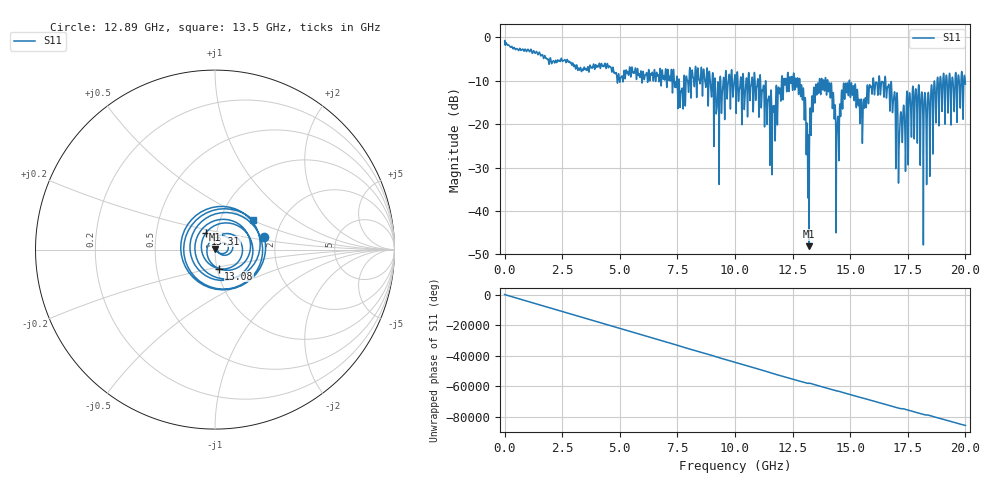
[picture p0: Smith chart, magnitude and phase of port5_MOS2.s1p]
! MS46122B
! 2250307/22442219
! 6/15/2025 11:04:52 AM
! C:\USERS\SPARKY\DOCUMENTS\VNA_DATA\JUNE15_2025\295K\PORT5_MOS2.S1P
! CHANNEL.1
! TR.MEASUREMENT
! RAW.DATA
# GHZ S RI R 50.0
! FREQ.GHZ  S11RE  S11IM
!; PortSelection: Port_1
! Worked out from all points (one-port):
!   10001 points, 1 MHz to 20 GHz, reference 50 ohm
!   lowest |S11| = -48.1 dB at 13.22 GHz (marker M1), VSWR 1.01, Z = 50.1 + j0.378 ohm
!   |S11| at or under -10 dB: 14.03 GHz to 14.96 GHz (933.2 MHz wide, 6.44 % of centre); 14.97 GHz to 15.98 GHz (1.012 GHz wide, 6.54 % of centre); 16.54 GHz to 18.77 GHz (2.235 GHz wide, 12.7 % of centre) (the widest 3 of 73)
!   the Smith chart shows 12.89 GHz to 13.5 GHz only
!   S11 on the Smith chart (normalised r, x): 12.89 GHz: 1.73, +0.26; 13.08 GHz: 1.02, -0.22; 13.31 GHz: 0.89, +0.16; 13.5 GHz: 1.44, +0.51
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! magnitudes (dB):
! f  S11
! 1 MHz  -1.0
! 2.501 GHz  -5.4
! 5.001 GHz  -10.3
! 7.501 GHz  -10.8
! 8.715 GHz  -10.7
! 9.245 GHz  -12.4
! 10 GHz  -8.6
! 10.92 GHz  -12.7
! 11.68 GHz  -17.2
! 12.5 GHz  -12.2
! 12.89 GHz  -10.9
! 13.08 GHz  -19.4
! 13.22 GHz  -48.1
! 13.31 GHz  -19.7
! 13.5 GHz  -11.4
! 14.1 GHz  -10.6
! 14.45 GHz  -19.1
! 14.71 GHz  -10.8
! 15 GHz  -13.2
! 15.5 GHz  -17.5
! 15.92 GHz  -11.9
! 16.59 GHz  -12.7
! 17.18 GHz  -18.0
! 17.5 GHz  -17.5
! 17.91 GHz  -23.5
! 18.25 GHz  -12.8
! 18.85 GHz  -20.4
! 20 GHz  -10.8
